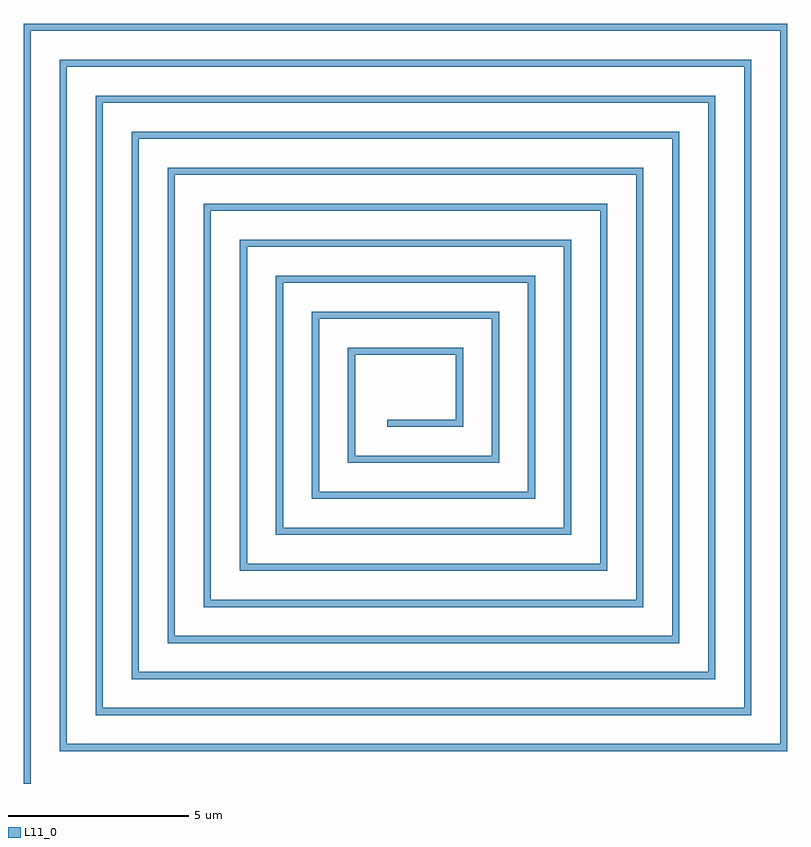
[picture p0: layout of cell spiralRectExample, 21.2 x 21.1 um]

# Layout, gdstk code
import gdstk
lib = gdstk.Library(unit=1e-6, precision=1e-09)
def R(c, l, rs):  # rectangles x0, y0, x1, y1
    for r in rs: c.add(gdstk.rectangle(r[:2], r[2:], *l))
def P(c, l, *ps):  # polygons
    for p in ps: c.add(gdstk.Polygon(p, *l))
L11_0 = (11, 0)

spiralrectexample = lib.new_cell('spiralRectExample')
R(spiralrectexample, L11_0, [(-10.1,-10,-9.9,0.55), (0,-0.1,0.5,0.1)])
P(spiralrectexample, L11_0, [(-9.1,-9.1),(-9.1,0.55),(-8.9,0.55),(-8.9,-8.9),(0.5,-8.9),(0.5,-9.1)],
  [(-8.1,-8.1),(-8.1,0.55),(-7.9,0.55),(-7.9,-7.9),(0.5,-7.9),(0.5,-8.1)],
  [(-7.1,-7.1),(-7.1,0.55),(-6.9,0.55),(-6.9,-6.9),(0.5,-6.9),(0.5,-7.1)],
  [(-6.1,-6.1),(-6.1,0.55),(-5.9,0.55),(-5.9,-5.9),(0.5,-5.9),(0.5,-6.1)],
  [(-5.1,-5.1),(-5.1,0.55),(-4.9,0.55),(-4.9,-4.9),(0.5,-4.9),(0.5,-5.1)],
  [(-4.1,-4.1),(-4.1,0.55),(-3.9,0.55),(-3.9,-3.9),(0.5,-3.9),(0.5,-4.1)],
  [(-3.1,-3.1),(-3.1,0.55),(-2.9,0.55),(-2.9,-2.9),(0.5,-2.9),(0.5,-3.1)],
  [(-2.1,-2.1),(-2.1,0.55),(-1.9,0.55),(-1.9,-1.9),(0.5,-1.9),(0.5,-2.1)],
  [(-1.1,-1.1),(-1.1,0.55),(-0.9,0.55),(-0.9,-0.9),(0.5,-0.9),(0.5,-1.1)],
  [(0.5,-0.1),(0.5,0.1),(1.9,0.1),(1.9,0.55),(2.1,0.55),(2.1,-0.1)],
  [(0.5,-1.1),(0.5,-0.9),(2.9,-0.9),(2.9,0.55),(3.1,0.55),(3.1,-1.1)],
  [(0.5,-2.1),(0.5,-1.9),(3.9,-1.9),(3.9,0.55),(4.1,0.55),(4.1,-2.1)],
  [(0.5,-3.1),(0.5,-2.9),(4.9,-2.9),(4.9,0.55),(5.1,0.55),(5.1,-3.1)],
  [(0.5,-4.1),(0.5,-3.9),(5.9,-3.9),(5.9,0.55),(6.1,0.55),(6.1,-4.1)],
  [(0.5,-5.1),(0.5,-4.9),(6.9,-4.9),(6.9,0.55),(7.1,0.55),(7.1,-5.1)],
  [(0.5,-6.1),(0.5,-5.9),(7.9,-5.9),(7.9,0.55),(8.1,0.55),(8.1,-6.1)],
  [(0.5,-7.1),(0.5,-6.9),(8.9,-6.9),(8.9,0.55),(9.1,0.55),(9.1,-7.1)],
  [(0.5,-8.1),(0.5,-7.9),(9.9,-7.9),(9.9,0.55),(10.1,0.55),(10.1,-8.1)],
  [(0.5,-9.1),(0.5,-8.9),(10.9,-8.9),(10.9,0.55),(11.1,0.55),(11.1,-9.1)],
  [(-1.1,0.55),(-1.1,2.1),(0.5,2.1),(0.5,1.9),(-0.9,1.9),(-0.9,0.55)],
  [(-2.1,0.55),(-2.1,3.1),(0.5,3.1),(0.5,2.9),(-1.9,2.9),(-1.9,0.55)],
  [(-3.1,0.55),(-3.1,4.1),(0.5,4.1),(0.5,3.9),(-2.9,3.9),(-2.9,0.55)],
  [(-4.1,0.55),(-4.1,5.1),(0.5,5.1),(0.5,4.9),(-3.9,4.9),(-3.9,0.55)],
  [(-5.1,0.55),(-5.1,6.1),(0.5,6.1),(0.5,5.9),(-4.9,5.9),(-4.9,0.55)],
  [(-6.1,0.55),(-6.1,7.1),(0.5,7.1),(0.5,6.9),(-5.9,6.9),(-5.9,0.55)],
  [(-7.1,0.55),(-7.1,8.1),(0.5,8.1),(0.5,7.9),(-6.9,7.9),(-6.9,0.55)],
  [(-8.1,0.55),(-8.1,9.1),(0.5,9.1),(0.5,8.9),(-7.9,8.9),(-7.9,0.55)],
  [(-9.1,0.55),(-9.1,10.1),(0.5,10.1),(0.5,9.9),(-8.9,9.9),(-8.9,0.55)],
  [(-10.1,0.55),(-10.1,11.1),(0.5,11.1),(0.5,10.9),(-9.9,10.9),(-9.9,0.55)],
  [(1.9,0.55),(1.9,1.9),(0.5,1.9),(0.5,2.1),(2.1,2.1),(2.1,0.55)],
  [(2.9,0.55),(2.9,2.9),(0.5,2.9),(0.5,3.1),(3.1,3.1),(3.1,0.55)],
  [(3.9,0.55),(3.9,3.9),(0.5,3.9),(0.5,4.1),(4.1,4.1),(4.1,0.55)],
  [(4.9,0.55),(4.9,4.9),(0.5,4.9),(0.5,5.1),(5.1,5.1),(5.1,0.55)],
  [(5.9,0.55),(5.9,5.9),(0.5,5.9),(0.5,6.1),(6.1,6.1),(6.1,0.55)],
  [(6.9,0.55),(6.9,6.9),(0.5,6.9),(0.5,7.1),(7.1,7.1),(7.1,0.55)],
  [(7.9,0.55),(7.9,7.9),(0.5,7.9),(0.5,8.1),(8.1,8.1),(8.1,0.55)],
  [(8.9,0.55),(8.9,8.9),(0.5,8.9),(0.5,9.1),(9.1,9.1),(9.1,0.55)],
  [(9.9,0.55),(9.9,9.9),(0.5,9.9),(0.5,10.1),(10.1,10.1),(10.1,0.55)],
  [(10.9,0.55),(10.9,10.9),(0.5,10.9),(0.5,11.1),(11.1,11.1),(11.1,0.55)])

lib.write_gds('spiralRectExample.gds')
